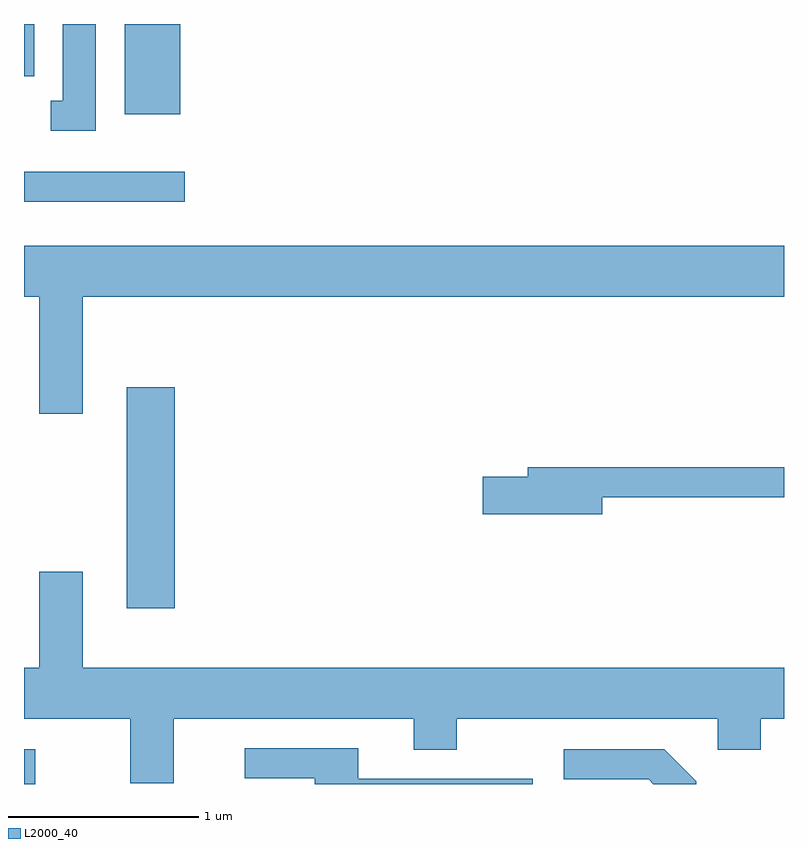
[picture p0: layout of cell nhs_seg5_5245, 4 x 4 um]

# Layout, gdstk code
import gdstk
lib = gdstk.Library(unit=1e-6, precision=1e-09)
def R(c, l, rs):  # rectangles x0, y0, x1, y1
    for r in rs: c.add(gdstk.rectangle(r[:2], r[2:], *l))
def P(c, l, *ps):  # polygons
    for p in ps: c.add(gdstk.Polygon(p, *l))
L2000_40 = (2000, 40)

nhs_seg5_5245 = lib.new_cell('nhs_seg5_5245')
R(nhs_seg5_5245, L2000_40, [(341.611,1392.072,341.669,1392.254), (342.151,1392.996,342.404,1394.159), (341.611,1395.136,342.458,1395.294), (342.141,1395.596,342.434,1396.072), (341.611,1395.796,341.664,1396.072)])
P(nhs_seg5_5245, L2000_40, [(341.989,1396.072),(341.816,1396.072),(341.816,1395.669),(341.753,1395.669),(341.753,1395.511),(341.989,1395.511)],
  [(341.919,1394.636),(345.611,1394.636),(345.611,1394.904),(341.611,1394.904),(341.611,1394.636),(341.691,1394.636),(341.691,1394.021),(341.919,1394.021)],
  [(344.654,1393.581),(345.611,1393.581),(345.611,1393.739),(344.261,1393.739),(344.261,1393.689),(344.026,1393.689),(344.026,1393.491),(344.654,1393.491)],
  [(342.399,1392.416),(343.661,1392.416),(343.661,1392.251),(343.889,1392.251),(343.889,1392.416),(345.261,1392.416),(345.261,1392.251),(345.489,1392.251),(345.489,1392.416),(345.611,1392.416),(345.611,1392.684),(341.919,1392.684),(341.919,1393.189),(341.691,1393.189),(341.691,1392.684),(341.611,1392.684),(341.611,1392.416),(342.171,1392.416),(342.171,1392.076),(342.399,1392.076)],
  [(344.289,1392.099),(343.369,1392.099),(343.369,1392.259),(342.773,1392.259),(342.773,1392.101),(343.141,1392.101),(343.141,1392.072),(344.289,1392.072)],
  [(345.149,1392.087),(344.982,1392.254),(344.453,1392.254),(344.453,1392.096),(344.899,1392.096),(344.923,1392.072),(345.149,1392.072)])

lib.write_gds('nhs_seg5_5245.gds')
